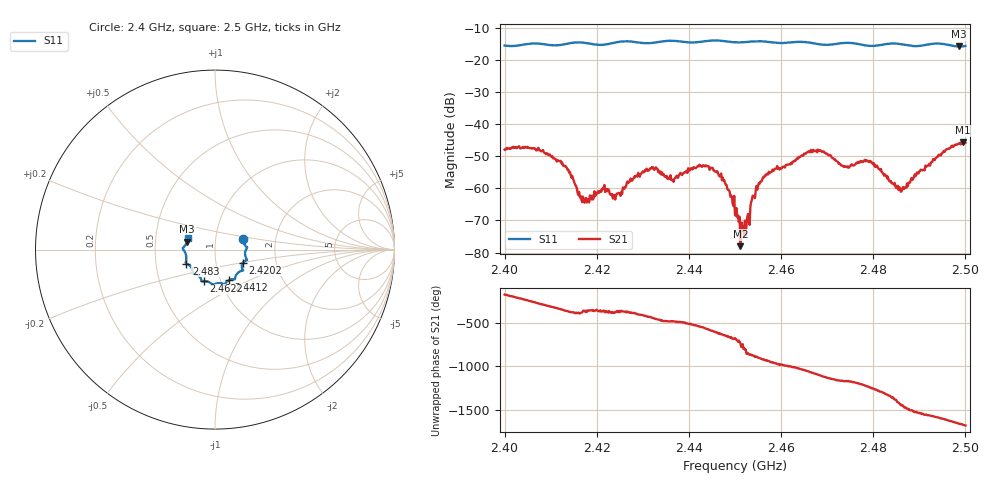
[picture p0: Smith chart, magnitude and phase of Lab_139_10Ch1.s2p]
# Hz S RI R 50
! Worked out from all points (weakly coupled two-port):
!   601 points, 2.4 GHz to 2.5 GHz, reference 50 ohm
!   highest |S21| = -45.63 dB at 2.4995 GHz (marker M1); lowest = -78.0 dB at 2.4512 GHz (marker M2)
!   lowest |S11| = -15.8 dB at 2.4987 GHz (marker M3), VSWR 1.39, Z = 36.4 + j3.29 ohm
!   |S11| at or under -10 dB: start of sweep to end of sweep
!   S12 and S22 are empty: the file has one direction only
!   S11 on the Smith chart (normalised r, x): 2.4 GHz: 1.36, +0.17; 2.4202 GHz: 1.35, -0.20; 2.4412 GHz: 1.09, -0.39; 2.4622 GHz: 0.83, -0.30; 2.483 GHz: 0.72, -0.12; 2.5 GHz: 0.73, +0.09
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2.4e9  0.1563 0.0603  -0.00399 -0.000361  0 0  0 0
2.412e9  0.1679 -0.0303  0.00248 0.000922  0 0  0 0
2.416667e9  0.1777 -0.0582  0.000623 -0.000258  0 0  0 0
2.420167e9  0.1563 -0.0719  0.000834 -4.01e-05  0 0  0 0
2.433333e9  0.1132 -0.1523  -0.000428 -0.00174  0 0  0 0
2.436667e9  0.1093 -0.1657  -0.000708 -0.00104  0 0  0 0
2.441167e9  0.0753 -0.1715  -0.00204 -0.000405  0 0  0 0
2.4465e9  0.0505 -0.1936  -6.99e-05 0.00159  0 0  0 0
2.45e9  0.0267 -0.1863  0.00028 0.000269  0 0  0 0
2.451167e9  0.015 -0.187  0.000121 -3.45e-05  0 0  0 0
2.452167e9  0.00605 -0.1892  1.2e-05 -0.000315  0 0  0 0
2.456333e9  -0.0151 -0.1932  -0.00138 0.000562  0 0  0 0
2.462167e9  -0.0629 -0.1765  0.000605 0.00243  0 0  0 0
2.466667e9  -0.0768 -0.167  0.00367 0.000338  0 0  0 0
2.474167e9  -0.1243 -0.1361  -8.68e-05 -0.00217  0 0  0 0
2.479e9  -0.1298 -0.1034  -0.00249 -0.000978  0 0  0 0
2.483e9  -0.1592 -0.0781  -0.000533 0.00133  0 0  0 0
2.483333e9  -0.1608 -0.0773  -0.00033 0.00133  0 0  0 0
2.4865e9  -0.1616 -0.0639  0.00102 -0.000247  0 0  0 0
2.498667e9  -0.1557 0.0441  -0.00363 0.00337  0 0  0 0
2.4995e9  -0.1532 0.0556  -0.00303 0.00426  0 0  0 0
2.5e9  -0.1526 0.0626  -0.00244 0.00453  0 0  0 0
